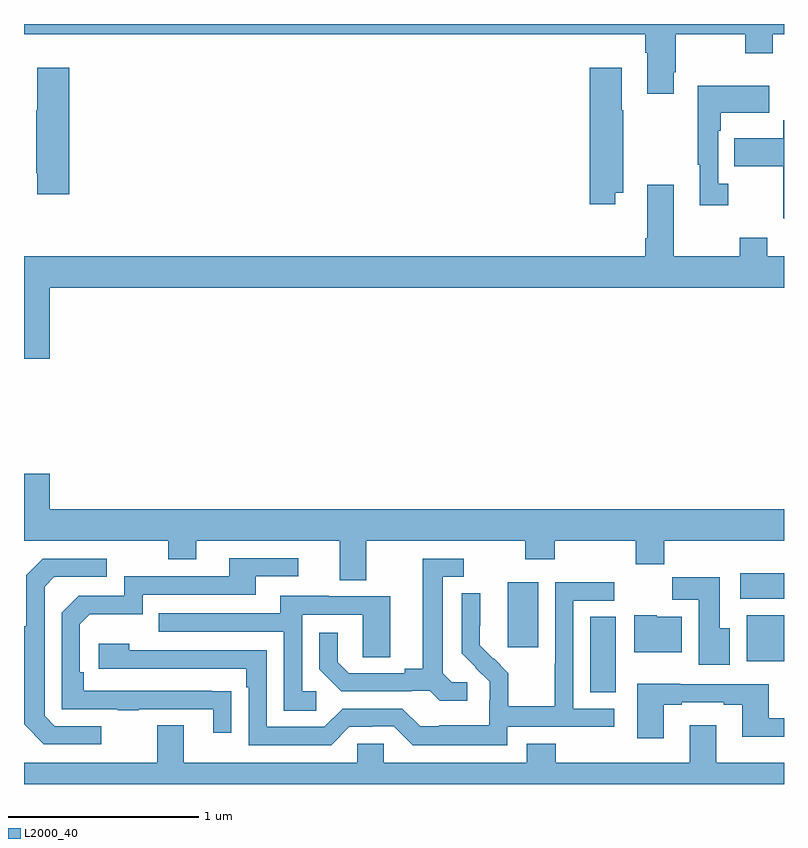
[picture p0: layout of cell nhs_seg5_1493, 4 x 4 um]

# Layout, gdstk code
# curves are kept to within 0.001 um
import gdstk
lib = gdstk.Library(unit=1e-6, precision=1e-09)
def R(c, l, rs):  # rectangles x0, y0, x1, y1
    for r in rs: c.add(gdstk.rectangle(r[:2], r[2:], *l))
def P(c, l, *ps):  # polygons
    for p in ps: c.add(gdstk.Polygon(p, *l))
L2000_40 = (2000, 40)

nhs_seg5_1493 = lib.new_cell('nhs_seg5_1493')
R(nhs_seg5_1493, L2000_40, [(203.981,869.281,204.115,869.678), (204.803,869.444,205,869.686), (203.546,869.52,203.707,869.86), (204.771,869.774,205,869.908)])
P(nhs_seg5_1493, L2000_40, [(204.421,872.545),(204.429,872.545),(204.429,872.744),(204.796,872.744),(204.796,872.645),(204.942,872.645),(204.942,872.744),(205,872.744),(205,872.799),(201,872.799),(201,872.744),(204.269,872.744),(204.269,872.648),(204.281,872.648),(204.281,872.433),(204.421,872.433)],
  [(201.239,872.569),(201.071,872.569),(201.071,872.345),(201.064,872.345),(201.064,872.014),(201.071,872.014),(201.071,871.902),(201.239,871.902)],
  [(204.112,871.91),(204.153,871.91),(204.153,872.345),(204.145,872.345),(204.145,872.569),(203.978,872.569),(203.978,871.851),(204.112,871.851)],
  [(204.706,871.958),(204.654,871.958),(204.654,872.237),(204.667,872.237),(204.667,872.333),(204.923,872.333),(204.923,872.473),(204.546,872.473),(204.546,872.057),(204.557,872.057),(204.557,871.845),(204.706,871.845)],
  [(205,872.293),(204.996,872.293),(204.996,872.197),(204.739,872.197),(204.739,872.05),(204.996,872.05),(204.996,871.777),(205,871.773)],
  [(205,871.576),(204.913,871.576),(204.913,871.675),(204.766,871.675),(204.766,871.576),(204.421,871.576),(204.421,871.954),(204.281,871.954),(204.281,871.672),(204.269,871.672),(204.269,871.576),(201,871.576),(201,871.038),(201.136,871.038),(201.136,871.412),(205,871.412)],
  [(202.801,870.08),(203.638,870.08),(203.638,869.981),(203.793,869.981),(203.793,870.08),(204.22,870.08),(204.22,869.956),(204.371,869.956),(204.371,870.08),(205,870.08),(205,870.244),(201.136,870.244),(201.136,870.433),(201,870.433),(201,870.08),(201.76,870.08),(201.76,869.981),(201.907,869.981),(201.907,870.08),(202.661,870.08),(202.661,869.872),(202.801,869.872)],
  [(202.091,869.288),(201.314,869.289),(201.314,869.386),(201.294,869.386),(201.294,869.64),(201.347,869.693),(201.624,869.693),(201.624,869.796),(202.219,869.796),(202.219,869.892),(202.444,869.892),(202.444,869.988),(202.079,869.988),(202.079,869.892),(201.528,869.892),(201.528,869.79),(201.288,869.79),(201.198,869.7),(201.198,869.193),(201.493,869.193),(201.493,869.188),(201.605,869.188),(201.605,869.193),(201.995,869.193),(201.995,869.07),(202.091,869.07)],
  [(201.406,869.103),(201.162,869.103),(201.108,869.157),(201.108,869.838),(201.159,869.889),(201.436,869.889),(201.436,869.985),(201.099,869.985),(201.012,869.898),(201.012,869.629),(201,869.629),(201,869.113),(201.105,869.007),(201.406,869.007)],
  [(203.332,869.334),(203.25,869.334),(203.203,869.381),(203.203,869.889),(203.314,869.889),(203.314,869.985),(203.099,869.985),(203.099,869.405),(203.003,869.405),(203.003,869.382),(202.708,869.382),(202.651,869.439),(202.651,869.596),(202.554,869.596),(202.554,869.402),(202.67,869.286),(203.042,869.286),(203.042,869.289),(203.136,869.289),(203.188,869.237),(203.332,869.237)],
  [(204.715,869.62),(204.661,869.62),(204.661,869.887),(204.412,869.887),(204.412,869.768),(204.551,869.768),(204.551,869.427),(204.715,869.427)],
  [(203.544,869.1),(204.106,869.1),(204.106,869.196),(203.892,869.196),(203.892,869.763),(204.106,869.763),(204.106,869.862),(203.796,869.862),(203.796,869.432),(203.794,869.432),(203.794,869.209),(203.549,869.209),(203.549,869.383),(203.472,869.46),(203.469,869.457),(203.399,869.528),(203.399,869.632),(203.401,869.632),(203.401,869.804),(203.304,869.804),(203.304,869.486),(203.45,869.338),(203.45,869.241),(203.448,869.241),(203.448,869.107),(203.185,869.107),(203.185,869.103),(203.085,869.103),(202.992,869.196),(202.677,869.196),(202.581,869.1),(202.278,869.1),(202.278,869.502),(201.554,869.502),(201.554,869.536),(201.393,869.536),(201.393,869.406),(202.169,869.406),(202.169,869.309),(202.182,869.309),(202.182,869.004),(202.617,869.004),(202.713,869.1),(202.832,869.1),(202.832,869.103),(202.947,869.103),(203.047,869.003),(203.544,869.003)],
  [(202.537,869.286),(202.464,869.286),(202.464,869.691),(202.782,869.691),(202.782,869.467),(202.927,869.467),(202.927,869.787),(202.603,869.787),(202.603,869.791),(202.349,869.791),(202.349,869.697),(201.709,869.697),(201.709,869.601),(202.368,869.601),(202.368,869.185),(202.537,869.185)],
  [(204.463,869.68),(204.33,869.68),(204.33,869.686),(204.212,869.686),(204.212,869.492),(204.463,869.492)],
  [(204.367,869.217),(204.463,869.217),(204.463,869.229),(204.683,869.229),(204.683,869.217),(204.779,869.217),(204.779,869.048),(205,869.048),(205,869.145),(204.919,869.145),(204.919,869.325),(204.455,869.325),(204.455,869.326),(204.227,869.326),(204.227,869.04),(204.367,869.04)],
  [(205,868.912),(204.643,868.912),(204.643,869.107),(204.503,869.107),(204.503,868.912),(203.798,868.912),(203.798,869.011),(203.645,869.011),(203.645,868.912),(202.893,868.912),(202.893,869.01),(202.755,869.01),(202.755,868.912),(201.841,868.912),(201.841,869.107),(201.701,869.107),(201.701,868.912),(201,868.912),(201,868.799),(205,868.799)])

lib.write_gds('nhs_seg5_1493.gds')
